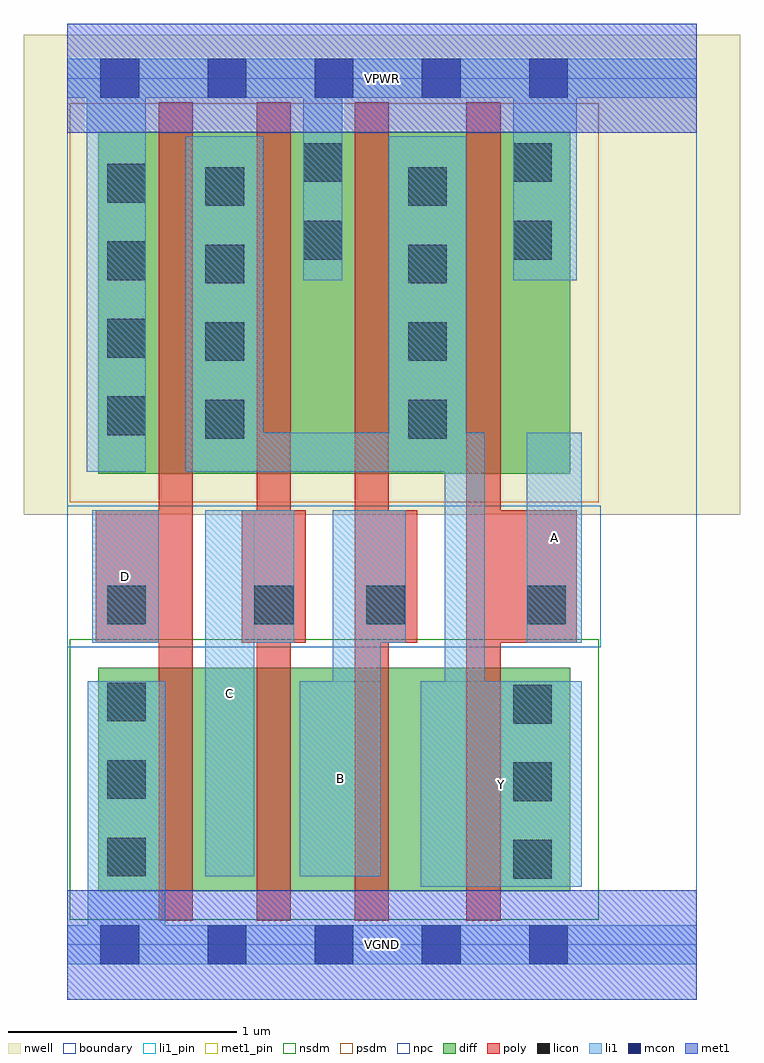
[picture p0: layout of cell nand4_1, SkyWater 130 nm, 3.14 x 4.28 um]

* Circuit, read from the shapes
.subckt nand4_1 A B C D VGND VPWR Y
XM1 n1 D VGND VSUBS sky130_fd_pr__nfet_01v8 w=0.98 l=0.15
XM2 n2 C n1 VSUBS sky130_fd_pr__nfet_01v8 w=0.98 l=0.15
XM3 n3 B n2 VSUBS sky130_fd_pr__nfet_01v8 w=0.98 l=0.15
XM4 Y A n3 VSUBS sky130_fd_pr__nfet_01v8 w=0.98 l=0.15
XM5 Y D VPWR n4 sky130_fd_pr__pfet_01v8 w=1.5 l=0.15
XM6 VPWR C Y n4 sky130_fd_pr__pfet_01v8 w=1.5 l=0.15
XM7 Y B VPWR n4 sky130_fd_pr__pfet_01v8 w=1.5 l=0.15
XM8 VPWR A Y n4 sky130_fd_pr__pfet_01v8 w=1.5 l=0.15
.ends

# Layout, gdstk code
import gdstk
lib = gdstk.Library(unit=1e-6, precision=1e-09)
def R(c, l, rs):  # rectangles x0, y0, x1, y1
    for r in rs: c.add(gdstk.rectangle(r[:2], r[2:], *l))
def A(c, l, x, y, w, h, nx, ny, dx, dy):  # array of equal rectangles
    R(c, l, [(x+i*dx, y+j*dy, x+i*dx+w, y+j*dy+h) for i in range(nx) for j in range(ny)])
nwell = (64, 20)
diff = (65, 20)
poly = (66, 20)
licon = (66, 44)
li1_pin = (67, 16)
li1 = (67, 20)
mcon = (67, 44)
met1_pin = (68, 16)
met1 = (68, 20)
nsdm = (93, 44)
psdm = (94, 20)
npc = (95, 20)
boundary = (235, 4)

nand4_1 = lib.new_cell('nand4_1')
R(nand4_1, nwell, [(-0.19,1.885,2.95,3.99), (0,1.885,2.76,3.99)])
R(nand4_1, diff, [(0.135,0.235,2.205,1.215), (0.135,2.065,2.205,3.565)])
A(nand4_1, poly, 0.4, 0.105, 0.15, 3.59, 3, 1, 0.43, 0)
R(nand4_1, poly, [(1.75,0.105,1.9,3.695), (0.125,1.325,0.55,1.905), (0.765,1.325,1.045,1.905), (1.26,1.325,1.535,1.905), (1.75,1.325,2.235,1.905)])
A(nand4_1, licon, 1.955, 0.29, 0.17, 0.17, 1, 3, 0, 0.34)
A(nand4_1, licon, 0.175, 0.3, 0.17, 0.17, 1, 3, 0, 0.34)
A(nand4_1, licon, 0.605, 2.22, 0.17, 0.17, 1, 4, 0, 0.34)
A(nand4_1, licon, 1.495, 2.22, 0.17, 0.17, 1, 4, 0, 0.34)
A(nand4_1, licon, 0.175, 2.235, 0.17, 0.17, 1, 4, 0, 0.34)
R(nand4_1, licon, [(0.175,1.405,0.345,1.575), (0.82,1.405,0.99,1.575), (1.31,1.405,1.48,1.575), (2.015,1.405,2.185,1.575), (1.035,3.005,1.205,3.175), (1.955,3.005,2.125,3.175), (1.035,3.345,1.205,3.515), (1.955,3.345,2.125,3.515)])
R(nand4_1, li1_pin, [(1.55,0.255,2.255,1.155), (0.605,0.3,0.82,1.905), (1.02,0.3,1.375,1.155), (0.11,1.325,0.4,1.905), (2.015,1.325,2.255,2.245)])
R(nand4_1, li1, [(0,-0.085,2.76,0.085), (0.09,-0.085,0.43,1.155), (1.55,0.255,2.255,1.155), (1.655,0.255,1.83,2.245), (0.605,0.3,0.82,1.905), (1.02,0.3,1.375,1.155), (1.165,0.3,1.375,1.905), (0.11,1.325,0.4,1.905), (0.605,1.325,0.995,1.905), (1.165,1.325,1.485,1.905), (2.015,1.325,2.255,2.245), (0.085,2.075,0.345,3.885), (0.52,2.075,0.86,3.545), (0.52,2.075,1.83,2.245), (1.41,2.075,1.75,3.545), (1.035,2.915,1.205,3.885), (1.955,2.915,2.235,3.885), (0,3.715,2.76,3.885)])
A(nand4_1, mcon, 0.145, -0.085, 0.17, 0.17, 5, 2, 0.47, 3.8)
R(nand4_1, met1_pin, [(0,-0.24,2.76,0.24), (0,3.56,2.76,4.04)])
R(nand4_1, met1, [(0,-0.24,2.76,0.24), (0,3.56,2.76,4.04)])
R(nand4_1, nsdm, [(0.01,0.11,2.33,1.34)])
R(nand4_1, psdm, [(0.01,1.94,2.33,3.69)])
R(nand4_1, npc, [(0,1.305,2.34,1.925)])
R(nand4_1, boundary, [(0,0,2.76,3.8)])
nand4_1.add(gdstk.Label('A', (2.135,1.785), layer=67, texttype=5))
nand4_1.add(gdstk.Label('B', (1.197,0.727), layer=67, texttype=5))
nand4_1.add(gdstk.Label('C', (0.712,1.102), layer=67, texttype=5))
nand4_1.add(gdstk.Label('D', (0.255,1.615), layer=67, texttype=5))
nand4_1.add(gdstk.Label('Y', (1.902,0.705), layer=67, texttype=5))
nand4_1.add(gdstk.Label('VPWR', (1.38,3.8), layer=68, texttype=5))
nand4_1.add(gdstk.Label('VGND', (1.38,0), layer=68, texttype=5))
nand4_1.add(gdstk.Label('A', (2.135,1.785), layer=67, texttype=16))
nand4_1.add(gdstk.Label('B', (1.197,0.727), layer=67, texttype=16))
nand4_1.add(gdstk.Label('C', (0.712,1.102), layer=67, texttype=16))
nand4_1.add(gdstk.Label('D', (0.255,1.615), layer=67, texttype=16))
nand4_1.add(gdstk.Label('Y', (1.902,0.705), layer=67, texttype=16))
nand4_1.add(gdstk.Label('VPWR', (1.38,3.8), layer=68, texttype=16))
nand4_1.add(gdstk.Label('VGND', (1.38,0), layer=68, texttype=16))

lib.write_gds('nand4_1.gds')
